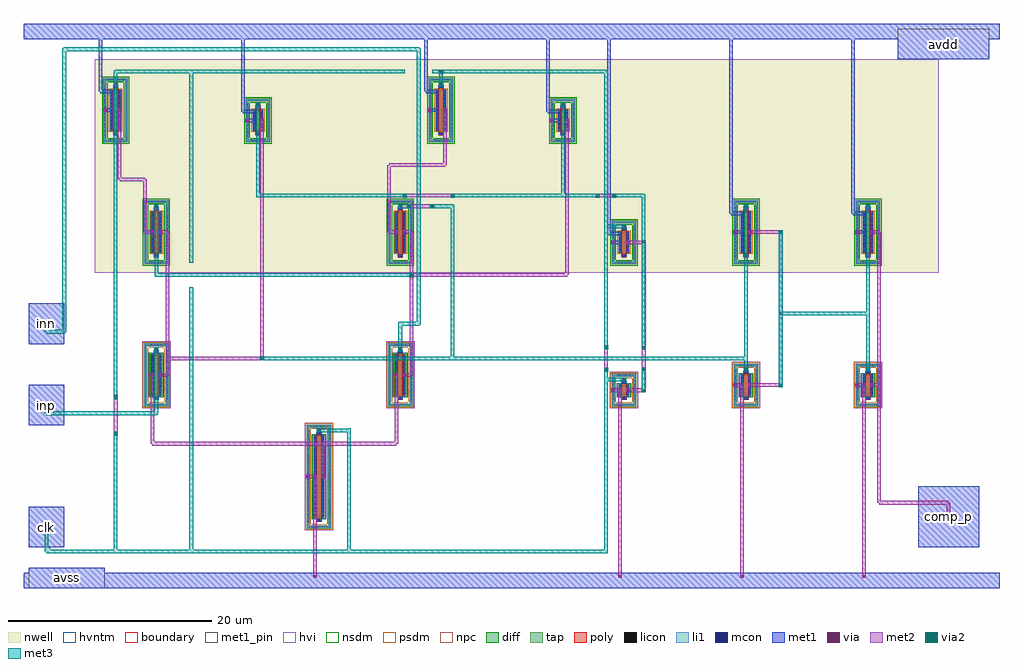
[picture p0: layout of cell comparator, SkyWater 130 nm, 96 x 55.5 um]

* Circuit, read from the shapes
.subckt comparator avdd avss clk comp_p inn inp
XM1 n1 inp n2 avss sky130_fd_pr__nfet_g5v0d10v5 w=4 l=0.5
XM2 n2 clk avss avss sky130_fd_pr__nfet_g5v0d10v5 w=8 l=0.5
XM3 n3 inn n2 avss sky130_fd_pr__nfet_g5v0d10v5 w=4 l=0.5
XM4 n4 clk avss avss sky130_fd_pr__nfet_g5v0d10v5 w=1 l=0.5
XM5 n5 n1 avss avss sky130_fd_pr__nfet_g5v0d10v5 w=2 l=0.5
XM6 comp_p n5 avss avss sky130_fd_pr__nfet_g5v0d10v5 w=2 l=0.5
XM7 n6 clk avdd avdd sky130_fd_pr__pfet_g5v0d10v5 w=4 l=0.5
XM8 n1 n3 n6 avdd sky130_fd_pr__pfet_g5v0d10v5 w=4 l=0.5
XM9 n1 n4 avdd avdd sky130_fd_pr__pfet_g5v0d10v5 w=2 l=0.5
XM10 n3 n1 n7 avdd sky130_fd_pr__pfet_g5v0d10v5 w=4 l=0.5
XM11 n7 clk avdd avdd sky130_fd_pr__pfet_g5v0d10v5 w=4 l=0.5
XM12 n3 n4 avdd avdd sky130_fd_pr__pfet_g5v0d10v5 w=2 l=0.5
XM13 n4 clk avdd avdd sky130_fd_pr__pfet_g5v0d10v5 w=2 l=0.5
XM14 n5 n1 avdd avdd sky130_fd_pr__pfet_g5v0d10v5 w=4 l=0.5
XM15 comp_p n5 avdd avdd sky130_fd_pr__pfet_g5v0d10v5 w=4 l=0.5
.ends

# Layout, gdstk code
import gdstk
lib = gdstk.Library(unit=1e-6, precision=1e-09)
def R(c, l, rs):  # rectangles x0, y0, x1, y1
    for r in rs: c.add(gdstk.rectangle(r[:2], r[2:], *l))
def A(c, l, x, y, w, h, nx, ny, dx, dy):  # array of equal rectangles
    R(c, l, [(x+i*dx, y+j*dy, x+i*dx+w, y+j*dy+h) for i in range(nx) for j in range(ny)])
nwell = (64, 20)
diff = (65, 20)
tap = (65, 44)
poly = (66, 20)
licon = (66, 44)
li1 = (67, 20)
mcon = (67, 44)
met1_pin = (68, 16)
met1 = (68, 20)
via = (68, 44)
met2 = (69, 20)
via2 = (69, 44)
met3 = (70, 20)
hvi = (75, 20)
nsdm = (93, 44)
psdm = (94, 20)
npc = (95, 20)
hvntm = (125, 20)
boundary = (235, 4)

sky130_fd_pr__nfet_g5v0d = lib.new_cell('sky130_fd_pr__nfet_g5v0d10v5_MJGQJ3')
R(sky130_fd_pr__nfet_g5v0d, diff, [(-0.54,-2,0.54,2)])
R(sky130_fd_pr__nfet_g5v0d, tap, [(-1.21,-3.11,1.21,-2.82), (-1.21,-2.82,-0.92,2.82), (0.92,-2.82,1.21,2.82), (-1.21,2.82,1.21,3.11)])
R(sky130_fd_pr__nfet_g5v0d, poly, [(-0.25,-2.44,0.25,2.44)])
A(sky130_fd_pr__nfet_g5v0d, licon, -0.595, -3.05, 0.17, 0.17, 4, 2, 0.34, 5.93)
A(sky130_fd_pr__nfet_g5v0d, licon, -1.15, -2.465, 0.17, 0.17, 1, 15, 0, 0.34)
A(sky130_fd_pr__nfet_g5v0d, licon, 0.98, -2.465, 0.17, 0.17, 1, 15, 0, 0.34)
A(sky130_fd_pr__nfet_g5v0d, licon, -0.48, -1.785, 0.17, 0.17, 1, 11, 0, 0.34)
A(sky130_fd_pr__nfet_g5v0d, licon, 0.31, -1.785, 0.17, 0.17, 1, 11, 0, 0.34)
R(sky130_fd_pr__nfet_g5v0d, licon, [(-0.085,-2.36,0.085,-2.19), (-0.085,2.19,0.085,2.36)])
R(sky130_fd_pr__nfet_g5v0d, li1, [(-1.15,-3.05,1.15,-2.88), (-1.15,-2.88,-0.98,2.88), (0.98,-2.88,1.15,2.88), (-0.25,-2.36,0.25,-2.19), (-0.48,-2.02,-0.31,2.02), (0.31,-2.02,0.48,2.02), (-0.25,2.19,0.25,2.36), (-1.15,2.88,1.15,3.05)])
A(sky130_fd_pr__nfet_g5v0d, mcon, -0.48, -1.885, 0.17, 0.17, 1, 11, 0, 0.36)
A(sky130_fd_pr__nfet_g5v0d, mcon, 0.31, -1.885, 0.17, 0.17, 1, 11, 0, 0.36)
R(sky130_fd_pr__nfet_g5v0d, mcon, [(-0.085,-2.36,0.085,-2.19), (-0.085,2.19,0.085,2.36)])
R(sky130_fd_pr__nfet_g5v0d, met1, [(-0.23,-2.39,0.23,-2.16), (-0.51,-2,-0.28,2), (0.28,-2,0.51,2), (-0.23,2.16,0.23,2.39)])
R(sky130_fd_pr__nfet_g5v0d, hvi, [(-1.395,-3.295,1.395,3.295)])
R(sky130_fd_pr__nfet_g5v0d, nsdm, [(-0.665,-2.125,0.665,2.125)])
R(sky130_fd_pr__nfet_g5v0d, psdm, [(-1.335,-3.235,1.335,-2.695), (-1.335,-2.695,-0.795,2.695), (0.795,-2.695,1.335,2.695), (-1.335,2.695,1.335,3.235)])
R(sky130_fd_pr__nfet_g5v0d, npc, [(-0.185,-2.46,0.185,-2.09), (-0.185,2.09,0.185,2.46)])
R(sky130_fd_pr__nfet_g5v0d, hvntm, [(-0.725,-2.185,0.725,2.185)])
R(sky130_fd_pr__nfet_g5v0d, boundary, [(-1.065,-2.965,1.065,2.965)])

c_sky130_fd_pr__nfet_g5v0d = lib.new_cell('sky130_fd_pr__nfet_g5v0d10v5_YNEQJ5')
R(c_sky130_fd_pr__nfet_g5v0d, diff, [(-0.54,-4,0.54,4)])
R(c_sky130_fd_pr__nfet_g5v0d, tap, [(-1.21,-5.11,1.21,-4.82), (-1.21,-4.82,-0.92,4.82), (0.92,-4.82,1.21,4.82), (-1.21,4.82,1.21,5.11)])
R(c_sky130_fd_pr__nfet_g5v0d, poly, [(-0.25,-4.44,0.25,4.44)])
A(c_sky130_fd_pr__nfet_g5v0d, licon, -0.595, -5.05, 0.17, 0.17, 4, 2, 0.34, 9.93)
A(c_sky130_fd_pr__nfet_g5v0d, licon, -1.15, -4.505, 0.17, 0.17, 1, 27, 0, 0.34)
A(c_sky130_fd_pr__nfet_g5v0d, licon, 0.98, -4.505, 0.17, 0.17, 1, 27, 0, 0.34)
A(c_sky130_fd_pr__nfet_g5v0d, licon, -0.48, -3.825, 0.17, 0.17, 1, 23, 0, 0.34)
A(c_sky130_fd_pr__nfet_g5v0d, licon, 0.31, -3.825, 0.17, 0.17, 1, 23, 0, 0.34)
R(c_sky130_fd_pr__nfet_g5v0d, licon, [(-0.085,-4.36,0.085,-4.19), (-0.085,4.19,0.085,4.36)])
R(c_sky130_fd_pr__nfet_g5v0d, li1, [(-1.15,-5.05,1.15,-4.88), (-1.15,-4.88,-0.98,4.88), (0.98,-4.88,1.15,4.88), (-0.25,-4.36,0.25,-4.19), (-0.48,-4.02,-0.31,4.02), (0.31,-4.02,0.48,4.02), (-0.25,4.19,0.25,4.36), (-1.15,4.88,1.15,5.05)])
A(c_sky130_fd_pr__nfet_g5v0d, mcon, -0.48, -3.865, 0.17, 0.17, 1, 22, 0, 0.36)
A(c_sky130_fd_pr__nfet_g5v0d, mcon, 0.31, -3.865, 0.17, 0.17, 1, 22, 0, 0.36)
R(c_sky130_fd_pr__nfet_g5v0d, mcon, [(-0.085,-4.36,0.085,-4.19), (-0.085,4.19,0.085,4.36)])
R(c_sky130_fd_pr__nfet_g5v0d, met1, [(-0.23,-4.39,0.23,-4.16), (-0.51,-4,-0.28,4), (0.28,-4,0.51,4), (-0.23,4.16,0.23,4.39)])
R(c_sky130_fd_pr__nfet_g5v0d, hvi, [(-1.395,-5.295,1.395,5.295)])
R(c_sky130_fd_pr__nfet_g5v0d, nsdm, [(-0.665,-4.125,0.665,4.125)])
R(c_sky130_fd_pr__nfet_g5v0d, psdm, [(-1.335,-5.235,1.335,-4.695), (-1.335,-4.695,-0.795,4.695), (0.795,-4.695,1.335,4.695), (-1.335,4.695,1.335,5.235)])
R(c_sky130_fd_pr__nfet_g5v0d, npc, [(-0.185,-4.46,0.185,-4.09), (-0.185,4.09,0.185,4.46)])
R(c_sky130_fd_pr__nfet_g5v0d, hvntm, [(-0.725,-4.185,0.725,4.185)])
R(c_sky130_fd_pr__nfet_g5v0d, boundary, [(-1.065,-4.965,1.065,4.965)])

c_sky130_fd_pr__nfet_g5v0d_ = lib.new_cell('sky130_fd_pr__nfet_g5v0d10v5_UNEQ2N')
R(c_sky130_fd_pr__nfet_g5v0d_, diff, [(-0.54,-0.5,0.54,0.5)])
R(c_sky130_fd_pr__nfet_g5v0d_, tap, [(-1.21,-1.61,1.21,-1.32), (-1.21,-1.32,-0.92,1.32), (0.92,-1.32,1.21,1.32), (-1.21,1.32,1.21,1.61)])
R(c_sky130_fd_pr__nfet_g5v0d_, poly, [(-0.25,-0.94,0.25,0.94)])
A(c_sky130_fd_pr__nfet_g5v0d_, licon, -0.595, -1.55, 0.17, 0.17, 4, 2, 0.34, 2.93)
A(c_sky130_fd_pr__nfet_g5v0d_, licon, -1.15, -0.935, 0.17, 0.17, 1, 6, 0, 0.34)
A(c_sky130_fd_pr__nfet_g5v0d_, licon, 0.98, -0.935, 0.17, 0.17, 1, 6, 0, 0.34)
A(c_sky130_fd_pr__nfet_g5v0d_, licon, -0.48, -0.425, 0.17, 0.17, 1, 3, 0, 0.34)
A(c_sky130_fd_pr__nfet_g5v0d_, licon, 0.31, -0.425, 0.17, 0.17, 1, 3, 0, 0.34)
R(c_sky130_fd_pr__nfet_g5v0d_, licon, [(-0.085,-0.86,0.085,-0.69), (-0.085,0.69,0.085,0.86)])
R(c_sky130_fd_pr__nfet_g5v0d_, li1, [(-1.15,-1.55,1.15,-1.38), (-1.15,-1.38,-0.98,1.38), (0.98,-1.38,1.15,1.38), (-0.25,-0.86,0.25,-0.69), (-0.48,-0.52,-0.31,0.52), (0.31,-0.52,0.48,0.52), (-0.25,0.69,0.25,0.86), (-1.15,1.38,1.15,1.55)])
R(c_sky130_fd_pr__nfet_g5v0d_, mcon, [(-0.085,-0.86,0.085,-0.69), (-0.48,-0.265,-0.31,-0.095), (0.31,-0.265,0.48,-0.095), (-0.48,0.095,-0.31,0.265), (0.31,0.095,0.48,0.265), (-0.085,0.69,0.085,0.86)])
R(c_sky130_fd_pr__nfet_g5v0d_, met1, [(-0.23,-0.89,0.23,-0.66), (-0.51,-0.5,-0.28,0.5), (0.28,-0.5,0.51,0.5), (-0.23,0.66,0.23,0.89)])
R(c_sky130_fd_pr__nfet_g5v0d_, hvi, [(-1.395,-1.795,1.395,1.795)])
R(c_sky130_fd_pr__nfet_g5v0d_, nsdm, [(-0.665,-0.625,0.665,0.625)])
R(c_sky130_fd_pr__nfet_g5v0d_, psdm, [(-1.335,-1.735,1.335,-1.195), (-1.335,-1.195,-0.795,1.195), (0.795,-1.195,1.335,1.195), (-1.335,1.195,1.335,1.735)])
R(c_sky130_fd_pr__nfet_g5v0d_, npc, [(-0.185,-0.96,0.185,-0.59), (-0.185,0.59,0.185,0.96)])
R(c_sky130_fd_pr__nfet_g5v0d_, hvntm, [(-0.725,-0.685,0.725,0.685)])
R(c_sky130_fd_pr__nfet_g5v0d_, boundary, [(-1.065,-1.465,1.065,1.465)])

sky130_fd_pr__pfet_g5v0d = lib.new_cell('sky130_fd_pr__pfet_g5v0d10v5_KL3SY6')
R(sky130_fd_pr__pfet_g5v0d, nwell, [(-1.54,-3.485,1.54,3.485)])
R(sky130_fd_pr__pfet_g5v0d, diff, [(-0.54,-2,0.54,2)])
R(sky130_fd_pr__pfet_g5v0d, tap, [(-1.21,-3.155,1.21,-2.865), (-1.21,-2.865,-0.92,2.865), (0.92,-2.865,1.21,2.865), (-1.21,2.865,1.21,3.155)])
R(sky130_fd_pr__pfet_g5v0d, poly, [(-0.25,-2.485,0.25,2.485)])
A(sky130_fd_pr__pfet_g5v0d, licon, -0.595, -3.095, 0.17, 0.17, 4, 2, 0.34, 6.02)
A(sky130_fd_pr__pfet_g5v0d, licon, -1.15, -2.465, 0.17, 0.17, 1, 15, 0, 0.34)
A(sky130_fd_pr__pfet_g5v0d, licon, 0.98, -2.465, 0.17, 0.17, 1, 15, 0, 0.34)
A(sky130_fd_pr__pfet_g5v0d, licon, -0.48, -1.785, 0.17, 0.17, 1, 11, 0, 0.34)
A(sky130_fd_pr__pfet_g5v0d, licon, 0.31, -1.785, 0.17, 0.17, 1, 11, 0, 0.34)
R(sky130_fd_pr__pfet_g5v0d, licon, [(-0.085,-2.405,0.085,-2.235), (-0.085,2.235,0.085,2.405)])
R(sky130_fd_pr__pfet_g5v0d, li1, [(-1.15,-3.095,1.15,-2.925), (-1.15,-2.925,-0.98,2.925), (0.98,-2.925,1.15,2.925), (-0.25,-2.405,0.25,-2.235), (-0.48,-2.02,-0.31,2.02), (0.31,-2.02,0.48,2.02), (-0.25,2.235,0.25,2.405), (-1.15,2.925,1.15,3.095)])
A(sky130_fd_pr__pfet_g5v0d, mcon, -0.48, -1.885, 0.17, 0.17, 1, 11, 0, 0.36)
A(sky130_fd_pr__pfet_g5v0d, mcon, 0.31, -1.885, 0.17, 0.17, 1, 11, 0, 0.36)
R(sky130_fd_pr__pfet_g5v0d, mcon, [(-0.085,-2.405,0.085,-2.235), (-0.085,2.235,0.085,2.405)])
R(sky130_fd_pr__pfet_g5v0d, met1, [(-0.23,-2.435,0.23,-2.205), (-0.51,-2,-0.28,2), (0.28,-2,0.51,2), (-0.23,2.205,0.23,2.435)])
R(sky130_fd_pr__pfet_g5v0d, hvi, [(-1.54,-3.485,1.54,3.485)])
R(sky130_fd_pr__pfet_g5v0d, nsdm, [(-1.335,-3.28,1.335,-2.74), (-1.335,-2.74,-0.795,2.74), (0.795,-2.74,1.335,2.74), (-1.335,2.74,1.335,3.28)])
R(sky130_fd_pr__pfet_g5v0d, psdm, [(-0.665,-2.125,0.665,2.125)])
R(sky130_fd_pr__pfet_g5v0d, npc, [(-0.185,-2.505,0.185,-2.135), (-0.185,2.135,0.185,2.505)])
R(sky130_fd_pr__pfet_g5v0d, boundary, [(-1.065,-3.01,1.065,3.01)])

c_sky130_fd_pr__pfet_g5v0d = lib.new_cell('sky130_fd_pr__pfet_g5v0d10v5_KLD8Y6')
R(c_sky130_fd_pr__pfet_g5v0d, nwell, [(-1.54,-2.485,1.54,2.485)])
R(c_sky130_fd_pr__pfet_g5v0d, diff, [(-0.54,-1,0.54,1)])
R(c_sky130_fd_pr__pfet_g5v0d, tap, [(-1.21,-2.155,1.21,-1.865), (-1.21,-1.865,-0.92,1.865), (0.92,-1.865,1.21,1.865), (-1.21,1.865,1.21,2.155)])
R(c_sky130_fd_pr__pfet_g5v0d, poly, [(-0.25,-1.485,0.25,1.485)])
A(c_sky130_fd_pr__pfet_g5v0d, licon, -0.595, -2.095, 0.17, 0.17, 4, 2, 0.34, 4.02)
A(c_sky130_fd_pr__pfet_g5v0d, licon, -1.15, -1.615, 0.17, 0.17, 1, 10, 0, 0.34)
A(c_sky130_fd_pr__pfet_g5v0d, licon, 0.98, -1.615, 0.17, 0.17, 1, 10, 0, 0.34)
A(c_sky130_fd_pr__pfet_g5v0d, licon, -0.48, -0.935, 0.17, 0.17, 1, 6, 0, 0.34)
A(c_sky130_fd_pr__pfet_g5v0d, licon, 0.31, -0.935, 0.17, 0.17, 1, 6, 0, 0.34)
R(c_sky130_fd_pr__pfet_g5v0d, licon, [(-0.085,-1.405,0.085,-1.235), (-0.085,1.235,0.085,1.405)])
R(c_sky130_fd_pr__pfet_g5v0d, li1, [(-1.15,-2.095,1.15,-1.925), (-1.15,-1.925,-0.98,1.925), (0.98,-1.925,1.15,1.925), (-0.25,-1.405,0.25,-1.235), (-0.48,-1.02,-0.31,1.02), (0.31,-1.02,0.48,1.02), (-0.25,1.235,0.25,1.405), (-1.15,1.925,1.15,2.095)])
A(c_sky130_fd_pr__pfet_g5v0d, mcon, -0.48, -0.805, 0.17, 0.17, 1, 5, 0, 0.36)
A(c_sky130_fd_pr__pfet_g5v0d, mcon, 0.31, -0.805, 0.17, 0.17, 1, 5, 0, 0.36)
R(c_sky130_fd_pr__pfet_g5v0d, mcon, [(-0.085,-1.405,0.085,-1.235), (-0.085,1.235,0.085,1.405)])
R(c_sky130_fd_pr__pfet_g5v0d, met1, [(-0.23,-1.435,0.23,-1.205), (-0.51,-1,-0.28,1), (0.28,-1,0.51,1), (-0.23,1.205,0.23,1.435)])
R(c_sky130_fd_pr__pfet_g5v0d, hvi, [(-1.54,-2.485,1.54,2.485)])
R(c_sky130_fd_pr__pfet_g5v0d, nsdm, [(-1.335,-2.28,1.335,-1.74), (-1.335,-1.74,-0.795,1.74), (0.795,-1.74,1.335,1.74), (-1.335,1.74,1.335,2.28)])
R(c_sky130_fd_pr__pfet_g5v0d, psdm, [(-0.665,-1.125,0.665,1.125)])
R(c_sky130_fd_pr__pfet_g5v0d, npc, [(-0.185,-1.505,0.185,-1.135), (-0.185,1.135,0.185,1.505)])
R(c_sky130_fd_pr__pfet_g5v0d, boundary, [(-1.065,-2.01,1.065,2.01)])

c_sky130_fd_pr__nfet_g5v0d__ = lib.new_cell('sky130_fd_pr__nfet_g5v0d10v5_WSEQJ8')
R(c_sky130_fd_pr__nfet_g5v0d__, diff, [(-0.54,-1,0.54,1)])
R(c_sky130_fd_pr__nfet_g5v0d__, tap, [(-1.21,-2.11,1.21,-1.82), (-1.21,-1.82,-0.92,1.82), (0.92,-1.82,1.21,1.82), (-1.21,1.82,1.21,2.11)])
R(c_sky130_fd_pr__nfet_g5v0d__, poly, [(-0.25,-1.44,0.25,1.44)])
A(c_sky130_fd_pr__nfet_g5v0d__, licon, -0.595, -2.05, 0.17, 0.17, 4, 2, 0.34, 3.93)
A(c_sky130_fd_pr__nfet_g5v0d__, licon, -1.15, -1.445, 0.17, 0.17, 1, 9, 0, 0.34)
A(c_sky130_fd_pr__nfet_g5v0d__, licon, 0.98, -1.445, 0.17, 0.17, 1, 9, 0, 0.34)
A(c_sky130_fd_pr__nfet_g5v0d__, licon, -0.48, -0.935, 0.17, 0.17, 1, 6, 0, 0.34)
A(c_sky130_fd_pr__nfet_g5v0d__, licon, 0.31, -0.935, 0.17, 0.17, 1, 6, 0, 0.34)
R(c_sky130_fd_pr__nfet_g5v0d__, licon, [(-0.085,-1.36,0.085,-1.19), (-0.085,1.19,0.085,1.36)])
R(c_sky130_fd_pr__nfet_g5v0d__, li1, [(-1.15,-2.05,1.15,-1.88), (-1.15,-1.88,-0.98,1.88), (0.98,-1.88,1.15,1.88), (-0.25,-1.36,0.25,-1.19), (-0.48,-1.02,-0.31,1.02), (0.31,-1.02,0.48,1.02), (-0.25,1.19,0.25,1.36), (-1.15,1.88,1.15,2.05)])
A(c_sky130_fd_pr__nfet_g5v0d__, mcon, -0.48, -0.805, 0.17, 0.17, 1, 5, 0, 0.36)
A(c_sky130_fd_pr__nfet_g5v0d__, mcon, 0.31, -0.805, 0.17, 0.17, 1, 5, 0, 0.36)
R(c_sky130_fd_pr__nfet_g5v0d__, mcon, [(-0.085,-1.36,0.085,-1.19), (-0.085,1.19,0.085,1.36)])
R(c_sky130_fd_pr__nfet_g5v0d__, met1, [(-0.23,-1.39,0.23,-1.16), (-0.51,-1,-0.28,1), (0.28,-1,0.51,1), (-0.23,1.16,0.23,1.39)])
R(c_sky130_fd_pr__nfet_g5v0d__, hvi, [(-1.395,-2.295,1.395,2.295)])
R(c_sky130_fd_pr__nfet_g5v0d__, nsdm, [(-0.665,-1.125,0.665,1.125)])
R(c_sky130_fd_pr__nfet_g5v0d__, psdm, [(-1.335,-2.235,1.335,-1.695), (-1.335,-1.695,-0.795,1.695), (0.795,-1.695,1.335,1.695), (-1.335,1.695,1.335,2.235)])
R(c_sky130_fd_pr__nfet_g5v0d__, npc, [(-0.185,-1.46,0.185,-1.09), (-0.185,1.09,0.185,1.46)])
R(c_sky130_fd_pr__nfet_g5v0d__, hvntm, [(-0.725,-1.185,0.725,1.185)])
R(c_sky130_fd_pr__nfet_g5v0d__, boundary, [(-1.065,-1.965,1.065,1.965)])

comparator = lib.new_cell('comparator')
R(comparator, nwell, [(7,31,90,52)])
R(comparator, li1, [(27.915,10.88,28.085,11.05), (57.915,19.38,58.085,19.55), (69.915,19.88,70.085,20.05), (81.915,19.88,82.085,20.05), (57.915,33.925,58.085,34.095), (69.915,34.925,70.085,35.095), (81.915,34.925,82.085,35.095), (21.915,45.925,22.085,46.095), (51.915,45.925,52.085,46.095), (7.915,46.925,8.085,47.095), (39.915,46.925,40.085,47.095)])
R(comparator, mcon, [(27.915,10.88,28.085,11.05), (27.915,10.88,28.085,11.05), (57.915,19.38,58.085,19.55), (57.915,19.38,58.085,19.55), (69.915,19.88,70.085,20.05), (69.915,19.88,70.085,20.05), (81.915,19.88,82.085,20.05), (81.915,19.88,82.085,20.05), (57.915,33.925,58.085,34.095), (57.915,33.925,58.085,34.095), (69.915,34.925,70.085,35.095), (69.915,34.925,70.085,35.095), (81.915,34.925,82.085,35.095), (81.915,34.925,82.085,35.095), (21.915,45.925,22.085,46.095), (21.915,45.925,22.085,46.095), (51.915,45.925,52.085,46.095), (51.915,45.925,52.085,46.095), (7.915,46.925,8.085,47.095), (7.915,46.925,8.085,47.095), (39.915,46.925,40.085,47.095), (39.915,46.925,40.085,47.095)])
R(comparator, met1_pin, [(0.5,0,8,2), (0.5,4,4,8), (88,4,94,10), (0.5,16,4,20), (0.5,24,4,28), (86,52,95,55)])
R(comparator, met1, [(0,0,96,1.5), (0.5,1.5,8,2), (0.5,4,4,8), (88,4,94,10), (27.82,10.785,28.18,11.145), (28.49,10.785,28.85,11.145), (29.28,10.785,29.64,11.145), (28.925,15.245,29.205,15.335), (28.885,15.335,29.245,15.695), (0.5,16,4,20), (57.82,19.285,58.18,19.645), (58.49,19.285,58.85,19.645), (59.28,19.285,59.64,19.645), (69.82,19.785,70.18,20.145), (70.49,19.785,70.85,20.145), (71.28,19.785,71.64,20.145), (81.82,19.785,82.18,20.145), (82.49,19.785,82.85,20.145), (83.28,19.785,83.64,20.145), (58.925,20.245,59.205,20.335), (58.885,20.335,59.245,20.695), (12.49,20.785,12.85,21.145), (13.28,20.785,13.64,21.145), (36.49,20.785,36.85,21.145), (37.28,20.785,37.64,21.145), (70.925,21.245,71.205,21.335), (82.925,21.245,83.205,21.335), (70.885,21.335,71.245,21.695), (82.885,21.335,83.245,21.695), (12.925,23.245,13.205,23.335), (36.925,23.245,37.205,23.335), (12.885,23.335,13.245,23.695), (36.885,23.335,37.245,23.695), (0.5,24,4,28), (57.82,33.83,58.18,33.835), (59.28,33.83,59.64,34.19), (57.82,33.835,58.67,34.185), (57.82,34.185,58.18,34.19), (57.57,34.685,58.67,34.86), (12.49,34.83,12.85,35.19), (13.28,34.83,13.64,35.19), (36.49,34.83,36.85,35.19), (37.28,34.83,37.64,35.19), (69.82,34.83,70.18,34.835), (71.28,34.83,71.64,35.19), (81.82,34.83,82.18,34.835), (83.28,34.83,83.64,35.19), (69.82,34.835,70.67,35.185), (81.82,34.835,82.67,35.185), (57.395,34.86,58.67,35.035), (57.395,35.035,57.745,54), (69.82,35.185,70.18,35.19), (81.82,35.185,82.18,35.19), (58.925,35.29,59.205,35.38), (58.885,35.38,59.245,35.74), (69.57,36.685,70.67,36.86), (81.57,36.685,82.67,36.86), (69.395,36.86,70.67,37.035), (81.395,36.86,82.67,37.035), (69.395,37.035,69.745,54), (81.395,37.035,81.745,54), (12.925,37.29,13.205,37.38), (36.925,37.29,37.205,37.38), (70.925,37.29,71.205,37.38), (82.925,37.29,83.205,37.38), (12.885,37.38,13.245,37.74), (36.885,37.38,37.245,37.74), (70.885,37.38,71.245,37.74), (82.885,37.38,83.245,37.74), (21.82,45.83,22.18,45.835), (23.28,45.83,23.64,46.19), (51.82,45.83,52.18,45.835), (53.28,45.83,53.64,46.19), (21.82,45.835,22.67,46.185), (51.82,45.835,52.67,46.185), (21.82,46.185,22.18,46.19), (51.82,46.185,52.18,46.19), (21.57,46.685,22.67,46.86), (51.57,46.685,52.67,46.86), (7.82,46.83,8.18,46.835), (9.28,46.83,9.64,47.19), (39.82,46.83,40.18,46.835), (41.28,46.83,41.64,47.19), (7.82,46.835,8.67,47.185), (39.82,46.835,40.67,47.185), (21.395,46.86,22.67,47.035), (51.395,46.86,52.67,47.035), (21.395,47.035,21.745,54), (51.395,47.035,51.745,54), (7.82,47.185,8.18,47.19), (39.82,47.185,40.18,47.19), (22.925,47.29,23.205,47.38), (52.925,47.29,53.205,47.38), (22.885,47.38,23.245,47.74), (52.885,47.38,53.245,47.74), (7.57,48.685,8.67,48.86), (39.57,48.685,40.67,48.86), (7.395,48.86,8.67,49.035), (39.395,48.86,40.67,49.035), (7.395,49.035,7.745,54), (39.395,49.035,39.745,54), (8.925,49.29,9.205,49.38), (40.925,49.29,41.205,49.38), (8.885,49.38,9.245,49.74), (40.885,49.38,41.245,49.74), (86,52,95,54), (0,54,96,55.5)])
A(comparator, via, 58.595, 1.125, 0.15, 0.15, 3, 1, 12, 0)
R(comparator, via, [(28.595,1.125,28.745,1.275), (2.175,5.925,2.325,6.075), (90.925,6.925,91.075,7.075), (27.925,10.89,28.075,11.04), (28.595,10.89,28.745,11.04), (29.385,10.89,29.535,11.04), (28.99,15.44,29.14,15.59), (2.175,17.925,2.325,18.075), (57.925,19.39,58.075,19.54), (58.595,19.39,58.745,19.54), (59.385,19.39,59.535,19.54), (69.925,19.89,70.075,20.04), (70.595,19.89,70.745,20.04), (71.385,19.89,71.535,20.04), (81.925,19.89,82.075,20.04), (82.595,19.89,82.745,20.04), (83.385,19.89,83.535,20.04), (58.99,20.44,59.14,20.59), (12.595,20.89,12.745,21.04), (13.385,20.89,13.535,21.04), (36.595,20.89,36.745,21.04), (37.385,20.89,37.535,21.04), (70.99,21.44,71.14,21.59), (82.99,21.44,83.14,21.59), (12.99,23.44,13.14,23.59), (36.99,23.44,37.14,23.59), (2.175,25.925,2.325,26.075), (57.925,33.935,58.075,34.085), (59.385,33.935,59.535,34.085), (12.595,34.935,12.745,35.085), (13.385,34.935,13.535,35.085), (36.595,34.935,36.745,35.085), (37.385,34.935,37.535,35.085), (69.925,34.935,70.075,35.085), (71.385,34.935,71.535,35.085), (81.925,34.935,82.075,35.085), (83.385,34.935,83.535,35.085), (58.99,35.485,59.14,35.635), (12.99,37.485,13.14,37.635), (36.99,37.485,37.14,37.635), (70.99,37.485,71.14,37.635), (82.99,37.485,83.14,37.635), (21.925,45.935,22.075,46.085), (23.385,45.935,23.535,46.085), (51.925,45.935,52.075,46.085), (53.385,45.935,53.535,46.085), (7.925,46.935,8.075,47.085), (9.385,46.935,9.535,47.085), (39.925,46.935,40.075,47.085), (41.385,46.935,41.535,47.085), (22.99,47.485,23.14,47.635), (52.99,47.485,53.14,47.635), (8.99,49.485,9.14,49.635), (40.99,49.485,41.14,49.635)])
A(comparator, met2, 58.49, 1.02, 0.36, 0.36, 3, 1, 12, 0)
R(comparator, met2, [(28.49,1.02,28.85,1.38), (28.495,1.38,28.845,10.785), (58.495,1.38,58.845,19.285), (70.495,1.38,70.845,19.785), (82.495,1.38,82.845,19.785), (2.05,5.8,2.45,6.2), (90.82,6.82,91.18,7.18), (90.825,7.18,91.175,8.225), (84.165,8.225,91.175,8.4), (83.99,8.4,91,8.575), (83.99,8.575,84.34,19.79), (27.82,10.785,28.18,10.79), (28.49,10.785,28.85,10.79), (29.28,10.785,29.64,11.145), (27.82,10.79,28.85,11.14), (27.82,11.14,28.18,11.145), (28.49,11.14,28.85,11.145), (29.285,11.145,29.635,14.025), (12.67,14.025,36.67,14.2), (12.495,14.2,36.845,14.375), (12.495,14.375,12.845,20.785), (36.495,14.375,36.845,20.785), (8.865,15,9.265,19), (28.865,15.315,29.265,15.715), (2.05,17.8,2.45,18.2), (60.8,19.265,61.2,19.29), (57.82,19.285,58.18,19.29), (58.49,19.285,58.85,19.29), (59.28,19.285,59.64,19.29), (57.82,19.29,58.85,19.64), (59.28,19.29,61.2,19.64), (57.82,19.64,58.18,19.645), (58.49,19.64,58.85,19.645), (59.28,19.64,59.64,19.645), (60.8,19.64,61.2,33.835), (74.3,19.765,74.7,19.79), (69.82,19.785,70.18,19.79), (70.49,19.785,70.85,19.79), (71.28,19.785,71.64,19.79), (81.82,19.785,82.18,19.79), (82.49,19.785,82.85,19.79), (83.28,19.785,83.64,19.79), (69.82,19.79,70.85,20.14), (71.28,19.79,74.7,20.14), (81.82,19.79,82.85,20.14), (83.28,19.79,84.34,20.14), (69.82,20.14,70.18,20.145), (70.49,20.14,70.85,20.145), (71.28,20.14,71.64,20.145), (74.3,20.14,74.7,34.835), (81.82,20.14,82.18,20.145), (82.49,20.14,82.85,20.145), (83.28,20.14,83.64,20.145), (83.99,20.14,84.34,34.835), (58.865,20.315,59.265,20.715), (12.49,20.785,12.85,21.145), (13.28,20.785,13.64,20.79), (36.49,20.785,36.85,21.145), (37.28,20.785,37.64,20.79), (13.28,20.79,14.165,20.965), (37.28,20.79,38.165,20.965), (13.28,20.965,14.34,21.14), (37.28,20.965,38.34,21.14), (13.28,21.14,13.64,21.145), (13.99,21.14,14.34,22.425), (37.28,21.14,37.64,21.145), (37.99,21.14,38.34,30.6), (57.1,21.3,57.5,21.7), (70.865,21.315,71.265,21.715), (82.865,21.315,83.265,21.715), (57.125,21.7,57.475,23.5), (23.26,22.4,23.66,22.425), (13.99,22.425,23.66,22.775), (13.99,22.775,14.34,34.835), (23.26,22.775,23.66,22.8), (23.285,22.8,23.635,45.83), (12.865,23.315,13.265,23.715), (36.865,23.315,37.265,23.715), (57.1,23.5,57.5,23.9), (2.05,25.8,2.45,26.2), (37.965,30.6,38.365,30.625), (37.965,30.625,53.46,30.8), (37.965,30.8,53.635,30.975), (37.965,30.975,38.365,31), (53.285,30.975,53.635,45.83), (37.99,31,38.34,34.835), (57.82,33.83,58.18,34.19), (59.28,33.83,59.64,33.835), (59.28,33.835,61.2,34.185), (59.28,34.185,59.64,34.19), (60.8,34.185,61.2,34.21), (12.49,34.83,12.85,34.835), (13.28,34.83,13.64,34.835), (36.49,34.83,36.85,34.835), (37.28,34.83,37.64,34.835), (69.82,34.83,70.18,35.19), (71.28,34.83,71.64,34.835), (81.82,34.83,82.18,35.19), (83.28,34.83,83.64,34.835), (11.965,34.835,12.85,35.01), (13.28,34.835,14.34,35.01), (35.965,34.835,36.85,35.01), (37.28,34.835,38.34,35.01), (71.28,34.835,74.7,35.185), (83.28,34.835,84.34,35.01), (11.79,35.01,12.85,35.185), (13.28,35.01,14.165,35.185), (35.79,35.01,36.85,35.185), (37.28,35.01,38.165,35.185), (83.28,35.01,84.165,35.185), (11.79,35.185,12.14,40.025), (12.49,35.185,12.85,35.19), (13.28,35.185,13.64,35.19), (35.79,35.185,36.14,41.425), (36.49,35.185,36.85,35.19), (37.28,35.185,37.64,35.19), (71.28,35.185,71.64,35.19), (74.3,35.185,74.7,35.21), (83.28,35.185,83.64,35.19), (58.865,35.36,59.265,35.76), (12.865,37.36,13.265,37.76), (36.865,37.36,37.265,37.76), (37.7,37.36,38.1,37.385), (40,37.36,40.4,37.385), (70.865,37.36,71.265,37.76), (82.865,37.36,83.265,37.76), (37.7,37.385,40.4,37.735), (37.7,37.735,38.1,37.76), (40,37.735,40.4,37.76), (37.3,38.4,37.7,38.425), (42,38.4,42.4,38.425), (56.3,38.4,56.7,38.425), (57.9,38.4,58.3,38.425), (37.3,38.425,42.4,38.775), (56.3,38.425,58.3,38.775), (37.3,38.775,37.7,38.8), (42,38.775,42.4,38.8), (56.3,38.775,56.7,38.8), (57.9,38.775,58.3,38.8), (9.46,40.025,12.14,40.2), (9.285,40.2,11.965,40.375), (9.285,40.375,9.635,46.83), (35.79,41.425,41.46,41.6), (35.965,41.6,41.635,41.775), (41.285,41.775,41.635,46.83), (21.82,45.83,22.18,46.19), (23.28,45.83,23.64,46.19), (51.82,45.83,52.18,46.19), (53.28,45.83,53.64,46.19), (7.82,46.83,8.18,47.19), (9.28,46.83,9.64,47.19), (39.82,46.83,40.18,47.19), (41.28,46.83,41.64,47.19), (22.865,47.36,23.265,47.76), (52.865,47.36,53.265,47.76), (8.865,49.36,9.265,49.76), (40.865,49.36,41.265,49.76), (40.865,50.6,41.265,51)])
R(comparator, via2, [(2.15,5.9,2.35,6.1), (8.965,15.1,9.165,15.3), (28.965,15.415,29.165,15.615), (2.15,17.9,2.35,18.1), (8.965,18.7,9.165,18.9), (60.9,19.365,61.1,19.565), (74.4,19.865,74.6,20.065), (58.965,20.415,59.165,20.615), (57.2,21.4,57.4,21.6), (60.9,21.4,61.1,21.6), (70.965,21.415,71.165,21.615), (82.965,21.415,83.165,21.615), (23.36,22.5,23.56,22.7), (12.965,23.415,13.165,23.615), (36.965,23.415,37.165,23.615), (57.2,23.6,57.4,23.8), (60.9,23.6,61.1,23.8), (2.15,25.9,2.35,26.1), (74.4,26.9,74.6,27.1), (38.065,30.7,38.265,30.9), (60.9,33.91,61.1,34.11), (74.4,34.91,74.6,35.11), (58.965,35.46,59.165,35.66), (12.965,37.46,13.165,37.66), (36.965,37.46,37.165,37.66), (37.8,37.46,38,37.66), (40.1,37.46,40.3,37.66), (70.965,37.46,71.165,37.66), (82.965,37.46,83.165,37.66), (37.4,38.5,37.6,38.7), (42.1,38.5,42.3,38.7), (56.4,38.5,56.6,38.7), (58,38.5,58.2,38.7), (22.965,47.46,23.165,47.66), (52.965,47.46,53.165,47.66), (8.965,49.46,9.165,49.66), (40.965,49.46,41.165,49.66), (40.965,50.7,41.165,50.9)])
R(comparator, met3, [(2.25,3.425,57.3,3.45), (2.25,3.45,57.45,3.6), (2.075,3.6,57.475,3.775), (2.075,3.775,2.64,3.99), (8.89,3.775,9.24,15), (16.325,3.775,16.675,29.6), (31.825,3.775,32.175,15.34), (57.125,3.775,57.475,20.34), (2.075,3.99,2.425,5.8), (2.05,5.8,2.45,6.2), (8.865,15,9.265,15.4), (28.865,15.315,29.265,15.34), (28.865,15.34,32.175,15.43), (28.865,15.43,32.21,15.69), (28.865,15.69,29.265,15.715), (31.91,15.69,32.21,15.73), (2.25,17,13.065,17.05), (2.25,17.05,13.215,17.2), (2.05,17.2,13.265,17.4), (2.05,17.4,2.65,17.6), (12.865,17.4,13.265,23.715), (2.05,17.6,2.45,18.2), (8.865,18.6,9.265,19), (8.89,19,9.24,49.36), (60.8,19.265,61.2,19.665), (60.825,19.665,61.175,21.3), (74.3,19.765,74.7,26.825), (58.865,20.315,59.265,20.34), (57.125,20.34,59.265,20.69), (57.125,20.69,57.475,21.3), (58.865,20.69,59.265,20.715), (57.1,21.3,57.5,21.7), (60.8,21.3,61.2,21.7), (70.865,21.315,71.265,21.715), (82.865,21.315,83.265,21.715), (70.89,21.715,71.24,22.425), (82.89,21.715,83.24,26.825), (23.26,22.4,23.66,22.425), (23.26,22.425,71.24,22.775), (23.26,22.775,23.66,22.8), (42.025,22.775,42.375,37.385), (70.89,22.775,71.24,37.36), (36.865,23.315,37.265,25.8), (57.1,23.5,57.5,23.9), (60.8,23.5,61.2,23.9), (57.125,23.9,57.475,35.385), (60.825,23.9,61.175,33.81), (2.25,25,4,25.05), (2.25,25.05,4.15,25.2), (2.05,25.2,4.2,25.4), (2.05,25.4,2.65,25.6), (3.8,25.4,4.2,52.8), (2.05,25.6,2.45,26.2), (36.865,25.8,38.865,25.85), (36.865,25.85,39.015,26), (36.87,26,39.065,26.2), (38.665,26.2,39.065,52.8), (74.3,26.825,83.24,27.175), (74.3,27.175,74.7,35.21), (82.89,27.175,83.24,37.36), (37.965,30.6,38.365,30.625), (13.065,30.625,38.365,30.65), (12.915,30.65,38.365,30.8), (12.89,30.8,38.365,30.975), (12.89,30.975,13.24,37.36), (37.965,30.975,38.365,31), (16.325,32,16.675,50.625), (60.8,33.81,61.2,34.21), (60.825,34.21,61.175,38.425), (58.865,35.36,59.265,35.385), (57.125,35.385,59.265,35.735), (57.125,35.735,57.475,50.625), (58.865,35.735,59.265,35.76), (12.865,37.36,13.265,37.76), (36.865,37.36,37.265,37.385), (37.7,37.36,38.1,37.385), (40,37.36,40.4,37.385), (70.865,37.36,71.265,37.76), (82.865,37.36,83.265,37.76), (36.865,37.385,38.1,37.735), (40,37.385,42.375,37.56), (40,37.56,42.35,37.71), (40,37.71,42.2,37.735), (36.865,37.735,37.265,37.76), (37.7,37.735,38.1,37.76), (40,37.735,40.4,37.76), (37.3,38.4,37.7,38.425), (42,38.4,42.4,38.425), (56.3,38.4,56.7,38.425), (57.9,38.4,58.3,38.425), (23.065,38.425,37.7,38.45), (42,38.425,56.7,38.775), (57.9,38.425,61.175,38.6), (22.915,38.45,37.7,38.6), (22.89,38.6,37.7,38.775), (57.9,38.6,61.15,38.75), (57.9,38.75,61,38.775), (22.89,38.775,23.24,47.36), (37.3,38.775,37.7,38.8), (42,38.775,42.4,38.8), (52.89,38.775,53.24,47.36), (56.3,38.775,56.7,38.8), (57.9,38.775,58.3,38.8), (22.865,47.36,23.265,47.76), (52.865,47.36,53.265,47.76), (8.865,49.36,9.265,49.76), (40.865,49.36,41.265,49.76), (8.89,49.76,9.24,50.625), (40.89,49.76,41.24,50.6), (40.865,50.6,41.265,50.625), (8.89,50.625,37.5,50.8), (40.2,50.625,57.475,50.8), (8.915,50.8,37.5,50.95), (40.2,50.8,57.45,50.95), (9.065,50.95,37.5,50.975), (40.2,50.95,57.3,50.975), (40.865,50.975,41.265,51), (3.8,52.8,39.065,53), (3.85,53,39.015,53.15), (4,53.15,38.865,53.2)])
R(comparator, hvi, [(7,31,90,31.525), (7,31.525,11.525,38.495), (14.605,31.525,35.525,38.495), (38.605,31.525,57.525,36.495), (60.605,31.525,69.525,36.495), (72.605,31.525,81.525,38.495), (84.605,31.525,90,38.495), (38.605,36.495,69.525,38.495), (7,38.495,90,43.525), (7,43.525,7.525,50.495), (10.605,43.525,21.525,48.495), (24.605,43.525,39.525,48.495), (42.605,43.525,51.525,48.495), (54.605,43.525,90,48.495), (10.605,48.495,39.525,50.495), (42.605,48.495,90,50.495), (7,50.495,90,52)])
comparator.add(gdstk.Reference(sky130_fd_pr__nfet_g5v0d, (13.065,20.965)))
comparator.add(gdstk.Reference(c_sky130_fd_pr__nfet_g5v0d, (29.065,10.965)))
comparator.add(gdstk.Reference(sky130_fd_pr__nfet_g5v0d, (37.065,20.965)))
comparator.add(gdstk.Reference(c_sky130_fd_pr__nfet_g5v0d_, (59.065,19.465)))
comparator.add(gdstk.Reference(sky130_fd_pr__pfet_g5v0d, (13.065,35.01)))
comparator.add(gdstk.Reference(sky130_fd_pr__pfet_g5v0d, (37.065,35.01)))
comparator.add(gdstk.Reference(sky130_fd_pr__pfet_g5v0d, (9.065,47.01)))
comparator.add(gdstk.Reference(c_sky130_fd_pr__pfet_g5v0d, (23.065,46.01)))
comparator.add(gdstk.Reference(sky130_fd_pr__pfet_g5v0d, (41.065,47.01)))
comparator.add(gdstk.Reference(c_sky130_fd_pr__pfet_g5v0d, (53.065,46.01)))
comparator.add(gdstk.Reference(sky130_fd_pr__pfet_g5v0d, (83.065,35.01)))
comparator.add(gdstk.Reference(c_sky130_fd_pr__nfet_g5v0d__, (83.065,19.965)))
comparator.add(gdstk.Reference(sky130_fd_pr__pfet_g5v0d, (71.065,35.01)))
comparator.add(gdstk.Reference(c_sky130_fd_pr__nfet_g5v0d__, (71.065,19.965)))
comparator.add(gdstk.Reference(c_sky130_fd_pr__pfet_g5v0d, (59.065,34.01)))
comparator.add(gdstk.Label('inp', (2.25,18), layer=68, texttype=5))
comparator.add(gdstk.Label('inn', (2.25,26), layer=68, texttype=5))
comparator.add(gdstk.Label('clk', (2.25,6), layer=68, texttype=5))
comparator.add(gdstk.Label('comp_p', (91,7), layer=68, texttype=5))
comparator.add(gdstk.Label('avdd', (90.5,53.5), layer=68, texttype=5))
comparator.add(gdstk.Label('avss', (4.25,1), layer=68, texttype=5))

lib.write_gds('comparator.gds')
